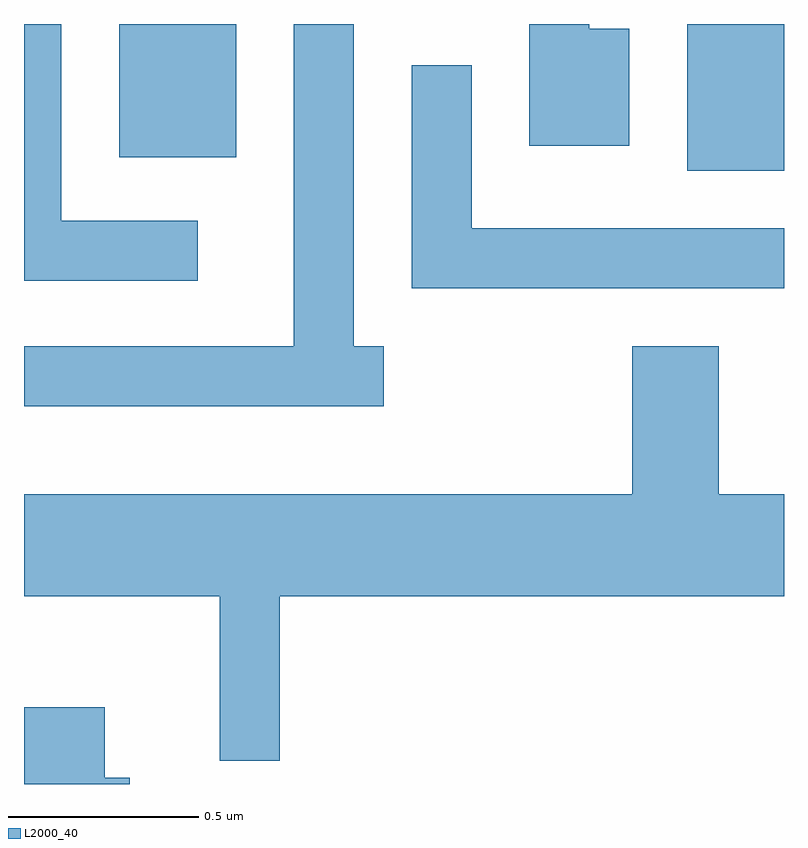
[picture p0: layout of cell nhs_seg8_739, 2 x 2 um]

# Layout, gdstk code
import gdstk
lib = gdstk.Library(unit=1e-6, precision=1e-09)
def R(c, l, rs):  # rectangles x0, y0, x1, y1
    for r in rs: c.add(gdstk.rectangle(r[:2], r[2:], *l))
def P(c, l, *ps):  # polygons
    for p in ps: c.add(gdstk.Polygon(p, *l))
L2000_40 = (2000, 40)

nhs_seg8_739 = lib.new_cell('nhs_seg8_739')
R(nhs_seg8_739, L2000_40, [(192.356,1861.956,192.611,1862.342), (190.861,1861.991,191.169,1862.342)])
P(nhs_seg8_739, L2000_40, [(191.558,1861.494),(191.479,1861.494),(191.479,1862.342),(191.321,1862.342),(191.321,1861.494),(190.611,1861.494),(190.611,1861.336),(191.558,1861.336)],
  [(191.068,1861.824),(190.709,1861.824),(190.709,1862.342),(190.611,1862.342),(190.611,1861.666),(191.068,1861.666)],
  [(192.204,1862.329),(192.099,1862.329),(192.099,1862.342),(191.941,1862.342),(191.941,1862.021),(192.204,1862.021)],
  [(192.611,1861.804),(191.789,1861.804),(191.789,1862.233),(191.631,1862.233),(191.631,1861.646),(192.611,1861.646)],
  [(191.284,1860.836),(192.611,1860.836),(192.611,1861.104),(192.439,1861.104),(192.439,1861.494),(192.211,1861.494),(192.211,1861.104),(190.611,1861.104),(190.611,1860.836),(191.126,1860.836),(191.126,1860.403),(191.284,1860.403)],
  [(190.889,1860.359),(190.824,1860.359),(190.824,1860.544),(190.611,1860.544),(190.611,1860.342),(190.889,1860.342)])

lib.write_gds('nhs_seg8_739.gds')
